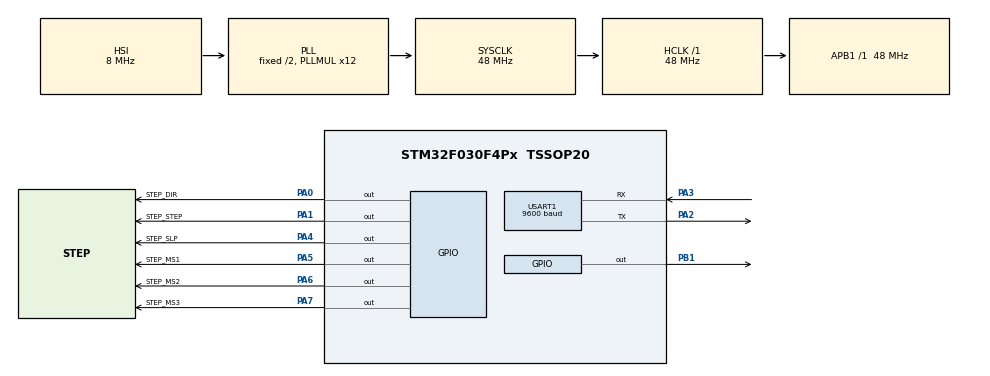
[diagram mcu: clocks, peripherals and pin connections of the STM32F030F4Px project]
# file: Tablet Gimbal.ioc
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Mcu.Family=STM32F0
Mcu.Name=STM32F030F4Px
Mcu.Package=TSSOP20
NVIC.USART1_IRQn=true\:0\:0\:false\:false\:true\:true\:true
PA0.GPIO_Label=STEP_DIR
PA0.Signal=GPIO_Output
PA1.GPIO_Label=STEP_STEP
PA1.Signal=GPIO_Output
PA13.Mode=Serial_Wire
PA13.Signal=SYS_SWDIO
PA14.Mode=Serial_Wire
PA14.Signal=SYS_SWCLK
PA2.Mode=Asynchronous
PA2.Signal=USART1_TX
PA3.Mode=Asynchronous
PA3.Signal=USART1_RX
PA4.GPIO_Label=STEP_SLP
PA4.Signal=GPIO_Output
PA5.GPIO_Label=STEP_MS1
PA5.Signal=GPIO_Output
PA6.GPIO_Label=STEP_MS2
PA6.Signal=GPIO_Output
PA7.GPIO_Label=STEP_MS3
PA7.Signal=GPIO_Output
PB1.Signal=GPIO_Output
ProjectManager.HeapSize=0x200
ProjectManager.StackSize=0x400
ProjectManager.TargetToolchain=STM32CubeIDE
RCC.AHBFreq_Value=48000000
RCC.APB1Freq_Value=48000000
RCC.APB1TimFreq_Value=48000000
RCC.HCLKFreq_Value=48000000
RCC.PLLMUL=RCC_PLL_MUL12
RCC.SYSCLKFreq_VALUE=48000000
RCC.SYSCLKSource=RCC_SYSCLKSOURCE_PLLCLK
USART1.BaudRate=9600
USART1.VirtualMode-Asynchronous=VM_ASYNC
board=custom

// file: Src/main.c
/* USER CODE BEGIN Header */
/**
  ******************************************************************************
  * @file           : main.c
  * @brief          : Main program body
  ******************************************************************************
  * @attention
  *
  * <h2><center>&copy; Copyright (c) 2019 STMicroelectronics.
  * All rights reserved.</center></h2>
  *
  * This software component is licensed by ST under BSD 3-Clause license,
  * the "License"; You may not use this file except in compliance with the
  * License. You may obtain a copy of the License at:
  *                        opensource.org/licenses/BSD-3-Clause
  *
  ******************************************************************************
  */
/* USER CODE END Header */

#include "main.h"

/* USER CODE BEGIN Includes */
#include "string.h"
#include "stdbool.h"
/* USER CODE END Includes */

UART_HandleTypeDef huart1;

void SystemClock_Config(void);
static void MX_GPIO_Init(void);
static void MX_USART1_UART_Init(void);

/* USER CODE BEGIN 0 */
bool acknowledged = false;
unsigned char* initialresponse = "ayy\n";
uint8_t bigbyte;

void HAL_UART_RxCpltCallback(UART_HandleTypeDef *huart)
{
  if (huart->Instance == USART1)
  {
	  //We've got data on UART!

	  if (bigbyte == 0b00110001)
	  {
		  HAL_GPIO_WritePin(GPIOB, GPIO_PIN_1, RESET);
		  HAL_UART_Transmit(&huart1, initialresponse, 4, 100);
		  acknowledged = true;
	  }
	  else
	  {

		  //This will be a movement instruction.

		  HAL_GPIO_WritePin(GPIOB, GPIO_PIN_1, RESET);

		  //First, un-sleep A4988 (make sure reset pin isn't causing issues)
		  HAL_GPIO_WritePin(GPIOA, STEP_SLP_Pin, (bigbyte >> 3) & 1U);

		  //Next, set direction
		  HAL_GPIO_WritePin(GPIOA, STEP_DIR_Pin, (bigbyte >> 7) & 1U);

		  //Next, set microsteps
		  HAL_GPIO_WritePin(GPIOA, STEP_MS1_Pin, (bigbyte >> 6) & 1U);
		  HAL_GPIO_WritePin(GPIOA, STEP_MS2_Pin, (bigbyte >> 5) & 1U);
		  HAL_GPIO_WritePin(GPIOA, STEP_MS3_Pin, (bigbyte >> 4) & 1U);

		  //Finally, step
		  HAL_GPIO_WritePin(GPIOA, STEP_STEP_Pin, SET);

		  int i = 0;
		  while (i < 100) { i++; } //short delay

		  HAL_GPIO_WritePin(GPIOB, GPIO_PIN_1, SET);
		  HAL_GPIO_WritePin(GPIOA, STEP_STEP_Pin, RESET);
	  }
  }
}
/* USER CODE END 0 */

int main(void)
{

  /* MCU Configuration--------------------------------------------------------*/

  /* Reset of all peripherals, Initializes the Flash interface and the Systick. */
  HAL_Init();

  /* Configure the system clock */
  SystemClock_Config();

  /* Initialize all configured peripherals */
  MX_GPIO_Init();
  MX_USART1_UART_Init();
  /* USER CODE BEGIN 2 */
  __HAL_UART_ENABLE_IT(&huart1, UART_IT_RXNE);
  unsigned char* transmitstring = "abcd";
  /* USER CODE END 2 */

  /* Infinite loop */
  /* USER CODE BEGIN WHILE */
  while (1)
  {
	  if (!acknowledged)
	  {
		  //This is the startup position, where "oof" is broadcast continually.
		  //"acknowleded" becomes false when we get a move instruction.
		  HAL_GPIO_WritePin(GPIOB, GPIO_PIN_1, SET);
		  HAL_UART_Transmit(&huart1, transmitstring, sizeof(transmitstring), HAL_MAX_DELAY);
		  HAL_Delay(1000);
	  }
    /* USER CODE END WHILE */

  }
}

void SystemClock_Config(void)
{
  RCC_OscInitTypeDef RCC_OscInitStruct = {0};
  RCC_ClkInitTypeDef RCC_ClkInitStruct = {0};
  RCC_PeriphCLKInitTypeDef PeriphClkInit = {0};

  /** Initializes the CPU, AHB and APB busses clocks
  */
  RCC_OscInitStruct.OscillatorType = RCC_OSCILLATORTYPE_HSI;
  RCC_OscInitStruct.HSIState = RCC_HSI_ON;
  RCC_OscInitStruct.HSICalibrationValue = RCC_HSICALIBRATION_DEFAULT;
  RCC_OscInitStruct.PLL.PLLState = RCC_PLL_ON;
  RCC_OscInitStruct.PLL.PLLSource = RCC_PLLSOURCE_HSI;
  RCC_OscInitStruct.PLL.PLLMUL = RCC_PLL_MUL12;
  RCC_OscInitStruct.PLL.PREDIV = RCC_PREDIV_DIV1;
  if (HAL_RCC_OscConfig(&RCC_OscInitStruct) != HAL_OK)
  {
    Error_Handler();
  }
  /** Initializes the CPU, AHB and APB busses clocks
  */
  RCC_ClkInitStruct.ClockType = RCC_CLOCKTYPE_HCLK|RCC_CLOCKTYPE_SYSCLK
                              |RCC_CLOCKTYPE_PCLK1;
  RCC_ClkInitStruct.SYSCLKSource = RCC_SYSCLKSOURCE_PLLCLK;
  RCC_ClkInitStruct.AHBCLKDivider = RCC_SYSCLK_DIV1;
  RCC_ClkInitStruct.APB1CLKDivider = RCC_HCLK_DIV1;

  if (HAL_RCC_ClockConfig(&RCC_ClkInitStruct, FLASH_LATENCY_1) != HAL_OK)
  {
    Error_Handler();
  }
  PeriphClkInit.PeriphClockSelection = RCC_PERIPHCLK_USART1;
  PeriphClkInit.Usart1ClockSelection = RCC_USART1CLKSOURCE_PCLK1;
  if (HAL_RCCEx_PeriphCLKConfig(&PeriphClkInit) != HAL_OK)
  {
    Error_Handler();
  }
}

static void MX_USART1_UART_Init(void)
{

  huart1.Instance = USART1;
  huart1.Init.BaudRate = 9600;
  huart1.Init.WordLength = UART_WORDLENGTH_8B;
  huart1.Init.StopBits = UART_STOPBITS_1;
  huart1.Init.Parity = UART_PARITY_NONE;
  huart1.Init.Mode = UART_MODE_TX_RX;
  huart1.Init.HwFlowCtl = UART_HWCONTROL_NONE;
  huart1.Init.OverSampling = UART_OVERSAMPLING_16;
  huart1.Init.OneBitSampling = UART_ONE_BIT_SAMPLE_DISABLE;
  huart1.AdvancedInit.AdvFeatureInit = UART_ADVFEATURE_NO_INIT;
  if (HAL_UART_Init(&huart1) != HAL_OK)
  {
    Error_Handler();
  }

}

static void MX_GPIO_Init(void)
{
  GPIO_InitTypeDef GPIO_InitStruct = {0};

  /* GPIO Ports Clock Enable */
  __HAL_RCC_GPIOA_CLK_ENABLE();
  __HAL_RCC_GPIOB_CLK_ENABLE();

  /*Configure GPIO pin Output Level */
  HAL_GPIO_WritePin(GPIOA, STEP_DIR_Pin|STEP_STEP_Pin|STEP_SLP_Pin|STEP_MS1_Pin
                          |STEP_MS2_Pin|STEP_MS3_Pin, GPIO_PIN_RESET);

  /*Configure GPIO pin Output Level */
  HAL_GPIO_WritePin(GPIOB, GPIO_PIN_1, GPIO_PIN_RESET);

  /*Configure GPIO pins : STEP_DIR_Pin STEP_STEP_Pin STEP_SLP_Pin STEP_MS1_Pin
                           STEP_MS2_Pin STEP_MS3_Pin */
  GPIO_InitStruct.Pin = STEP_DIR_Pin|STEP_STEP_Pin|STEP_SLP_Pin|STEP_MS1_Pin
                          |STEP_MS2_Pin|STEP_MS3_Pin;
  GPIO_InitStruct.Mode = GPIO_MODE_OUTPUT_PP;
  GPIO_InitStruct.Pull = GPIO_NOPULL;
  GPIO_InitStruct.Speed = GPIO_SPEED_FREQ_LOW;
  HAL_GPIO_Init(GPIOA, &GPIO_InitStruct);

  /*Configure GPIO pin : PB1 */
  GPIO_InitStruct.Pin = GPIO_PIN_1;
  GPIO_InitStruct.Mode = GPIO_MODE_OUTPUT_PP;
  GPIO_InitStruct.Pull = GPIO_NOPULL;
  GPIO_InitStruct.Speed = GPIO_SPEED_FREQ_LOW;
  HAL_GPIO_Init(GPIOB, &GPIO_InitStruct);

}

void Error_Handler(void)
{
}

/************************ (C) COPYRIGHT STMicroelectronics *****END OF FILE****/
